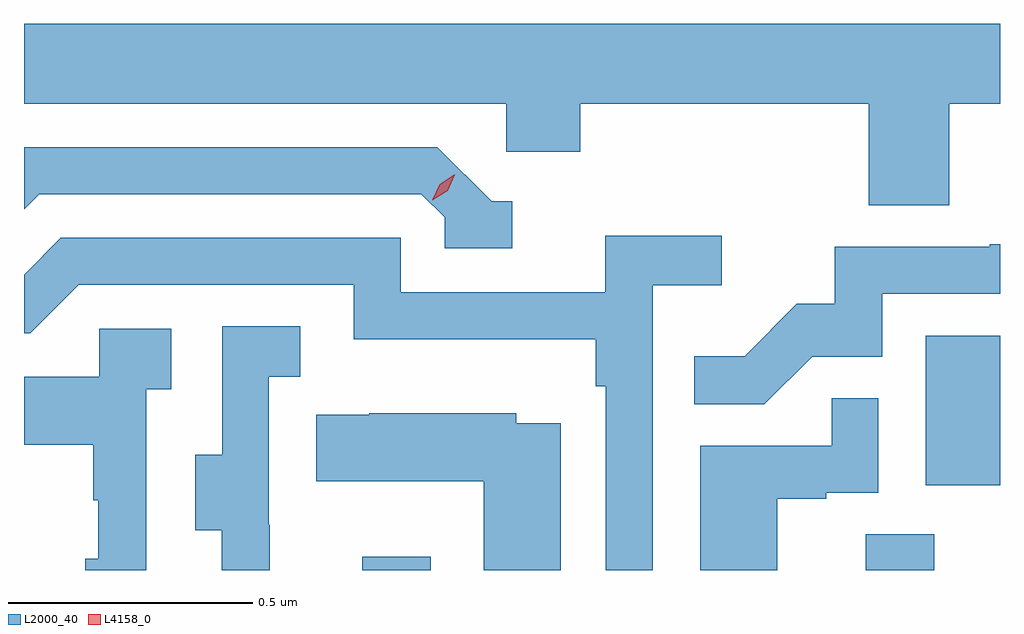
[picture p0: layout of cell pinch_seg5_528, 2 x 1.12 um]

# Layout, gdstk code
import gdstk
lib = gdstk.Library(unit=1e-6, precision=1e-09)
def R(c, l, rs):  # rectangles x0, y0, x1, y1
    for r in rs: c.add(gdstk.rectangle(r[:2], r[2:], *l))
def P(c, l, *ps):  # polygons
    for p in ps: c.add(gdstk.Polygon(p, *l))
L2000_40 = (2000, 40)
L4158_0 = (4158, 0)

pinch_seg5_528 = lib.new_cell('pinch_seg5_528')
R(pinch_seg5_528, L2000_40, [(925.001,833.16,925.141,833.188), (926.033,833.16,926.173,833.234), (926.156,833.334,926.308,833.641)])
P(pinch_seg5_528, L2000_40, [(926.204,834.116),(926.308,834.116),(926.308,834.28),(924.308,834.28),(924.308,834.116),(925.296,834.116),(925.296,834.018),(925.448,834.018),(925.448,834.116),(926.039,834.116),(926.039,833.908),(926.204,833.908)],
  [(925.309,833.916),(925.266,833.916),(925.155,834.027),(924.308,834.027),(924.308,833.9),(924.339,833.931),(925.122,833.931),(925.17,833.883),(925.17,833.82),(925.309,833.82)],
  [(925.596,833.744),(925.738,833.744),(925.738,833.846),(925.499,833.846),(925.499,833.73),(925.08,833.73),(925.08,833.841),(924.383,833.841),(924.308,833.766),(924.308,833.646),(924.321,833.646),(924.42,833.745),(924.984,833.745),(924.984,833.633),(925.48,833.633),(925.48,833.537),(925.5,833.537),(925.5,833.16),(925.596,833.16)],
  [(925.923,833.598),(926.067,833.598),(926.067,833.727),(926.308,833.727),(926.308,833.828),(926.287,833.828),(926.287,833.823),(925.969,833.823),(925.969,833.706),(925.892,833.706),(925.785,833.599),(925.681,833.599),(925.681,833.5),(925.825,833.5)],
  [(924.812,833.253),(924.81,833.253),(924.81,833.557),(924.874,833.557),(924.874,833.66),(924.714,833.66),(924.714,833.397),(924.659,833.397),(924.659,833.242),(924.713,833.242),(924.713,833.16),(924.812,833.16)],
  [(924.558,833.531),(924.61,833.531),(924.61,833.655),(924.462,833.655),(924.462,833.557),(924.308,833.557),(924.308,833.417),(924.45,833.417),(924.45,833.303),(924.46,833.303),(924.46,833.184),(924.434,833.184),(924.434,833.16),(924.558,833.16)],
  [(925.852,833.307),(925.952,833.307),(925.952,833.319),(926.058,833.319),(926.058,833.513),(925.963,833.513),(925.963,833.415),(925.694,833.415),(925.694,833.16),(925.852,833.16)],
  [(925.408,833.461),(925.317,833.461),(925.317,833.482),(925.015,833.482),(925.015,833.479),(924.907,833.479),(924.907,833.342),(925.25,833.342),(925.25,833.16),(925.408,833.16)])
P(pinch_seg5_528, L4158_0, [(925.145,833.918),(925.145,833.918),(925.16,833.951),(925.19,833.971),(925.191,833.971),(925.191,833.971),(925.176,833.938),(925.145,833.918)])

lib.write_gds('pinch_seg5_528.gds')
